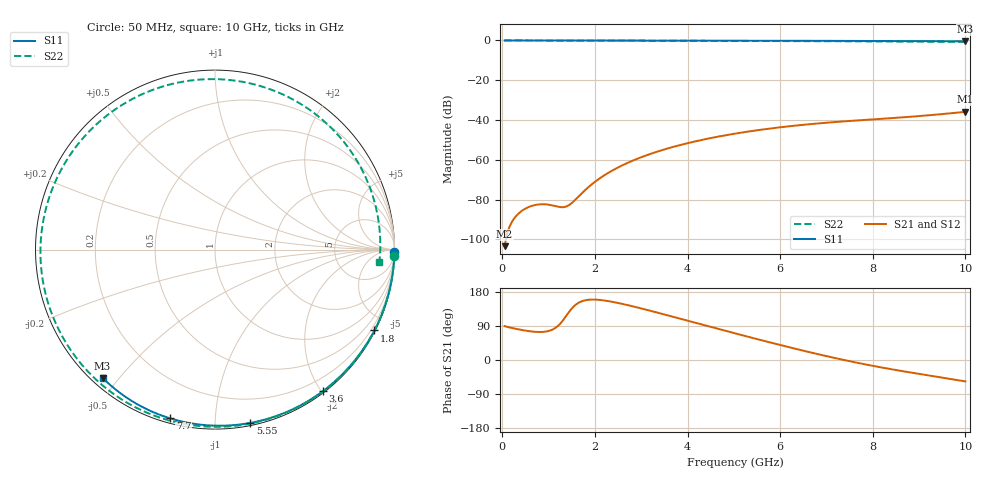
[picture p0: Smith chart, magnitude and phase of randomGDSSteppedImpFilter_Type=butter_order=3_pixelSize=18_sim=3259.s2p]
! freq	dB(S11)	phase(S11)	dB(S12)	phase(S12)
!  dB(S21)	phase(S21)	dB(S22)	phase(S22)
!S-par simulation data
#  GHz  S  DB  R 50
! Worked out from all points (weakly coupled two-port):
!   200 points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, 50 MHz to 10 GHz, reference 50 ohm
!   highest |S21| = -35.88 dB at 10 GHz (marker M1); lowest = -103.5 dB at 50 MHz (marker M2)
!   lowest |S11| = -0.4 dB at 10 GHz (marker M3), VSWR 39.11, Z = 1.54 - j22.7 ohm
!   |S11| at or under -10 dB: nowhere
!   |S22| runs from -0.7 to 0.0 dB; largest |S21 - S12| = 0
!   S11 on the Smith chart (normalised r, x): 50 MHz: open; 1.8 GHz: 0.04, -4.18; 3.6 GHz: 0.02, -2.02; 5.55 GHz: 0.02, -1.22; 7.7 GHz: 0.02, -0.77; 10 GHz: 0.03, -0.45
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0.05  -0.00 -0.8  -103.46 89.3  -103.46 89.3  -0.00 -2.0
0.75  -0.01 -11.3  -82.59 74.1  -82.59 74.1  -0.04 -29.7
1.55  -0.03 -23.2  -80.71 142.1  -80.71 142.1  -0.07 -60.3
1.75  -0.03 -26.2  -76.10 156.3  -76.10 156.3  -0.08 -67.7
1.8  -0.03 -26.9  -75.01 157.8  -75.01 157.8  -0.09 -69.5
2.1  -0.04 -31.3  -69.42 158.6  -69.42 158.6  -0.10 -80.3
2.45  -0.05 -36.3  -64.47 151.8  -64.47 151.8  -0.11 -92.6
2.9  -0.06 -42.8  -59.64 139.1  -59.64 139.1  -0.13 -108.0
3.4  -0.07 -49.8  -55.52 123.4  -55.52 123.4  -0.15 -124.6
3.6  -0.07 -52.6  -54.13 116.9  -54.13 116.9  -0.16 -131.1
4.35  -0.09 -62.8  -49.82 92.3  -49.82 92.3  -0.20 -155.1
5.05  -0.11 -72.1  -46.77 69.5  -46.77 69.5  -0.24 -177.6
5.55  -0.13 -78.5  -45.01 53.6  -45.01 53.6  -0.27 166.1
6.1  -0.15 -85.5  -43.41 36.5  -43.41 36.5  -0.31 147.6
6.7  -0.18 -92.9  -41.98 18.7  -41.98 18.7  -0.36 126.5
7.2  -0.21 -98.9  -41.01 4.7  -41.01 4.7  -0.41 108.0
7.7  -0.24 -104.9  -40.17 -8.2  -40.17 -8.2  -0.45 88.6
8.35  -0.29 -112.5  -39.16 -23.3  -39.16 -23.3  -0.52 62.5
8.8  -0.32 -117.6  -38.40 -32.6  -38.40 -32.6  -0.56 44.0
9.2  -0.36 -122.2  -37.65 -40.6  -37.65 -40.6  -0.61 27.6
9.6  -0.40 -126.7  -36.81 -48.5  -36.81 -48.5  -0.67 11.4
10  -0.44 -131.2  -35.88 -56.5  -35.88 -56.5  -0.74 -4.5
